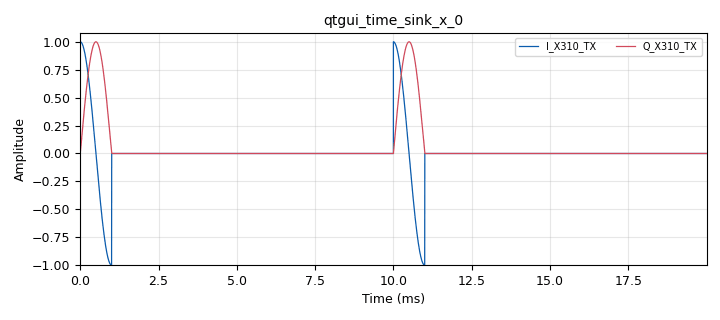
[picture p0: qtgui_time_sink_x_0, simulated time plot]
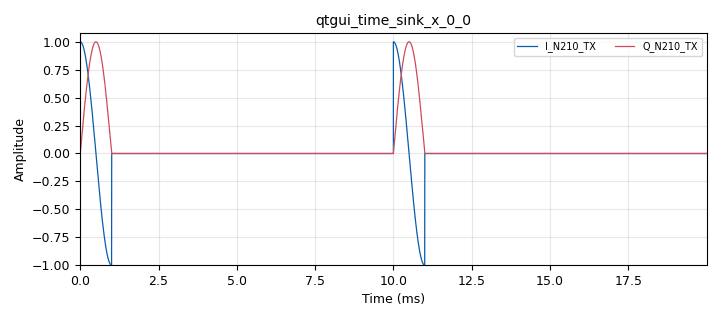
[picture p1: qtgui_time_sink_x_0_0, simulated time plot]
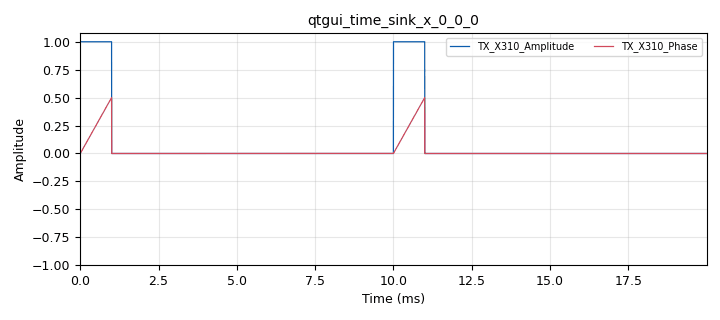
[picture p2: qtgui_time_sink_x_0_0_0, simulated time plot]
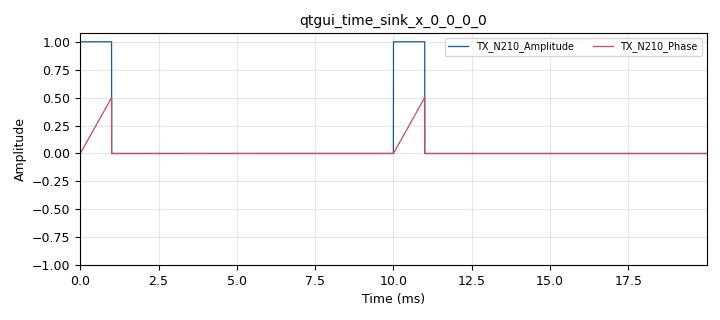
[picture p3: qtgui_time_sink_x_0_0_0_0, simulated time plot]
options:
  parameters:
    author: jtang
    generate_options: qt_gui
    id: visualize_frequency_drift
    output_language: python
    title: Not titled yet
  states: {}

blocks:
- name: PRI
  id: variable_qtgui_range
  parameters:
    label: Pulse Repetition Interval
    start: '1e-6'
    step: '1e-6'
    stop: '1'
    value: '0.01'
    widget: counter
  states: {}
- name: amplitude
  id: variable_qtgui_range
  parameters:
    label: Amplitude
    start: '0'
    step: '0.02'
    stop: '1.01'
    value: '1.0'
  states: {}
- name: bandwidth
  id: variable_qtgui_range
  parameters:
    label: Bandwidth
    start: 1e3
    step: '1'
    stop: 5e6
    value: 300e3
    widget: counter
  states: {}
- name: delay
  id: variable_qtgui_range
  parameters:
    label: delay
    rangeType: int
    start: '0'
    step: '1'
    stop: int(PRI * samp_rate)
    value: '0'
  states: {}
- name: duty_cycle
  id: variable_qtgui_range
  parameters:
    label: Duty Cycle
    start: '0'
    step: '0.0000001'
    stop: '1'
    value: '0.1'
    widget: counter
  states: {}
- name: padded
  id: variable
  parameters:
    value: np.pad(sine, (0, int(samp_rate * PRI) - int(samp_rate * duty_cycle * PRI)))
  states: {}
- name: padded_delayed
  id: variable
  parameters:
    value: np.pad(sine, (delay, int(samp_rate * PRI) - int(samp_rate * duty_cycle * PRI)-delay))
  states: {}
- name: samp_rate
  id: variable
  parameters:
    value: int(2e6)
  states: {}
- name: sine
  id: variable
  parameters:
    value: amplitude*np.exp(1j * np.pi * np.arange(int(samp_rate * PRI*duty_cycle)) / int(samp_rate * PRI*duty_cycle))
  states: {}
- name: analog_const_source_x_0_0_0
  id: analog_const_source_x
  parameters:
    const: 2*np.pi
    type: float
  states: {}
- name: analog_const_source_x_0_0_0_0
  id: analog_const_source_x
  parameters:
    const: 2*np.pi
    type: float
  states: {}
- name: analog_const_source_x_0_1
  id: analog_const_source_x
  parameters:
    const: 2*np.pi
    type: float
  states: {}
- name: blocks_complex_to_magphase_0_0
  id: blocks_complex_to_magphase
  parameters: {}
  states: {}
- name: blocks_complex_to_magphase_0_0_0
  id: blocks_complex_to_magphase
  parameters: {}
  states: {}
- name: blocks_complex_to_magphase_0_1
  id: blocks_complex_to_magphase
  parameters: {}
  states: {}
- name: blocks_divide_xx_0_0
  id: blocks_divide_xx
  parameters:
    type: float
  states: {}
- name: blocks_divide_xx_0_0_0
  id: blocks_divide_xx
  parameters:
    type: float
  states: {}
- name: blocks_divide_xx_0_1
  id: blocks_divide_xx
  parameters:
    type: float
  states: {}
- name: blocks_vector_source_x_0
  id: blocks_vector_source_x
  parameters:
    repeat: 'True'
    type: complex
    vector: padded
  states: {}
- name: blocks_vector_source_x_0_1
  id: blocks_vector_source_x
  parameters:
    repeat: 'True'
    type: complex
    vector: padded_delayed
  states: {}
- name: import_0
  id: import
  parameters:
    imports: import numpy as np
  states: {}
- name: lfmTools_LFM_Source_0
  id: lfmTools_LFM_Source
  parameters:
    amplitude: amplitude
    bandwidth: bandwidth
    duty_cycle: duty_cycle
    pri: PRI
    samp_rate: samp_rate
  states: {state: disabled}
- name: lfmTools_LFM_Source_0_0
  id: lfmTools_LFM_Source
  parameters:
    amplitude: amplitude
    bandwidth: bandwidth
    duty_cycle: duty_cycle
    pri: PRI
    samp_rate: samp_rate
  states: {state: disabled}
- name: qtgui_time_sink_x_0
  id: qtgui_time_sink_x
  parameters:
    gui_hint: (0, 0, 1, 1)
    label1: I_X310_TX
    label2: Q_X310_TX
    size: int(samp_rate * PRI)*2
    srate: 'samp_rate '
    type: complex
  states: {}
- name: qtgui_time_sink_x_0_0
  id: qtgui_time_sink_x
  parameters:
    gui_hint: (1, 0, 1, 1)
    label1: I_N210_TX
    label2: Q_N210_TX
    size: int(samp_rate * PRI)*2
    srate: 'samp_rate '
    type: complex
  states: {}
- name: qtgui_time_sink_x_0_0_0
  id: qtgui_time_sink_x
  parameters:
    gui_hint: (0, 1, 1, 1)
    label1: TX_X310_Amplitude
    label2: TX_X310_Phase
    nconnections: '2'
    size: int(samp_rate * PRI)*2
    srate: 'samp_rate '
    type: float
  states: {}
- name: qtgui_time_sink_x_0_0_0_0
  id: qtgui_time_sink_x
  parameters:
    gui_hint: (1, 1, 1, 1)
    label1: TX_N210_Amplitude
    label2: TX_N210_Phase
    nconnections: '2'
    size: int(samp_rate * PRI)*2
    srate: 'samp_rate '
    type: float
  states: {}
- name: qtgui_time_sink_x_0_0_1
  id: qtgui_time_sink_x
  parameters:
    gui_hint: (2, 1, 1, 1)
    label1: RX_X310_Amplitude
    label2: RX_X310_Phase
    nconnections: '2'
    size: int(samp_rate * PRI)*2
    srate: 'samp_rate '
    type: float
  states: {}
- name: qtgui_time_sink_x_0_1_0
  id: qtgui_time_sink_x
  parameters:
    entags: 'False'
    gui_hint: (2, 0, 1, 1)
    label1: I_X310_RX
    label2: Q_X310_RX
    size: int(samp_rate * PRI)*2
    srate: 'samp_rate '
    type: complex
  states: {}
- name: uhd_usrp_sink_0_0
  id: uhd_usrp_sink
  parameters:
    ant0: '"TX/RX"'
    bw0: samp_rate
    center_freq0: 3e9
    clock_source0: internal
    dev_addr: addr=192.168.110.2
    gain0: '15'
    samp_rate: samp_rate
    stream_chans: '1'
    sync: none
    type: fc32
  states: {}
- name: uhd_usrp_sink_0_0_0
  id: uhd_usrp_sink
  parameters:
    ant0: '"TX/RX"'
    bw0: samp_rate
    center_freq0: 3e9
    clock_source0: external
    dev_addr: addr=192.168.10.5
    gain0: '15'
    samp_rate: samp_rate
    sync: none
    type: fc32
  states: {}
- name: uhd_usrp_source_0_0_0
  id: uhd_usrp_source
  parameters:
    ant0: '"RX2"'
    bw0: samp_rate
    center_freq0: 3e9
    clock_source0: internal
    dev_addr: addr=192.168.110.2
    gain0: '10'
    samp_rate: samp_rate
    stream_chans: '0'
    sync: none
    type: fc32
  states: {}

connections:
- [analog_const_source_x_0_0_0, '0', blocks_divide_xx_0_0_0, '1']
- [analog_const_source_x_0_0_0_0, '0', blocks_divide_xx_0_0, '1']
- [analog_const_source_x_0_1, '0', blocks_divide_xx_0_1, '1']
- [blocks_complex_to_magphase_0_0, '0', qtgui_time_sink_x_0_0_0, '0']
- [blocks_complex_to_magphase_0_0, '1', blocks_divide_xx_0_0, '0']
- [blocks_complex_to_magphase_0_0_0, '0', qtgui_time_sink_x_0_0_0_0, '0']
- [blocks_complex_to_magphase_0_0_0, '1', blocks_divide_xx_0_0_0, '0']
- [blocks_complex_to_magphase_0_1, '0', qtgui_time_sink_x_0_0_1, '0']
- [blocks_complex_to_magphase_0_1, '1', blocks_divide_xx_0_1, '0']
- [blocks_divide_xx_0_0, '0', qtgui_time_sink_x_0_0_0, '1']
- [blocks_divide_xx_0_0_0, '0', qtgui_time_sink_x_0_0_0_0, '1']
- [blocks_divide_xx_0_1, '0', qtgui_time_sink_x_0_0_1, '1']
- [blocks_vector_source_x_0, '0', blocks_complex_to_magphase_0_0, '0']
- [blocks_vector_source_x_0, '0', qtgui_time_sink_x_0, '0']
- [blocks_vector_source_x_0, '0', uhd_usrp_sink_0_0, '0']
- [blocks_vector_source_x_0_1, '0', blocks_complex_to_magphase_0_0_0, '0']
- [blocks_vector_source_x_0_1, '0', qtgui_time_sink_x_0_0, '0']
- [blocks_vector_source_x_0_1, '0', uhd_usrp_sink_0_0_0, '0']
- [lfmTools_LFM_Source_0, '0', blocks_complex_to_magphase_0_0, '0']
- [lfmTools_LFM_Source_0, '0', qtgui_time_sink_x_0, '0']
- [lfmTools_LFM_Source_0, '0', uhd_usrp_sink_0_0, '0']
- [lfmTools_LFM_Source_0_0, '0', blocks_complex_to_magphase_0_0_0, '0']
- [lfmTools_LFM_Source_0_0, '0', qtgui_time_sink_x_0_0, '0']
- [lfmTools_LFM_Source_0_0, '0', uhd_usrp_sink_0_0_0, '0']
- [uhd_usrp_source_0_0_0, '0', blocks_complex_to_magphase_0_1, '0']
- [uhd_usrp_source_0_0_0, '0', qtgui_time_sink_x_0_1_0, '0']

metadata:
  file_format: 1
  grc_version: 3.10.6.0
